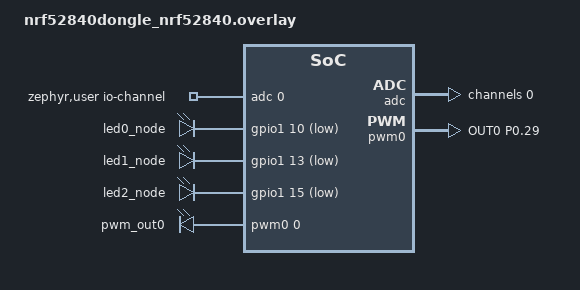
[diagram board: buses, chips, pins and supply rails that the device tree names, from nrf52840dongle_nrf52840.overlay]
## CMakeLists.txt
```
cmake_minimum_required(VERSION 3.20.0)
find_package(Zephyr REQUIRED HINTS $ENV{ZEPHYR_BASE})

project(pwm_out__analog_in__three_digital_output)

target_sources(app PRIVATE src/main.c)
```

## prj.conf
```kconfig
CONFIG_GPIO=y
CONFIG_PWM=y
CONFIG_PINCTRL=y
CONFIG_ADC=y
CONFIG_PRINTK=y
```

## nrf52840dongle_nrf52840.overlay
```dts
#include <zephyr/dt-bindings/adc/adc.h>
#include <zephyr/dt-bindings/adc/nrf-saadc.h>

/ {
    /* MERGED: keep your ADC io-channels */
    zephyr,user {
        io-channels = <&adc 0>;
    };

    /* ADDED: aliases for 3 LEDs + PWM output */
    aliases {
        led0 = &led0_node;
        led1 = &led1_node;
        led2 = &led2_node;
        pwmout = &pwm_out0;
    };

    /* ADDED: GPIO LED nodes */
    leds {
        compatible = "gpio-leds";

        led0_node: led0 {
            gpios = <&gpio1 10 GPIO_ACTIVE_LOW>; /* P1.10 */
        };

        led1_node: led1 {
            gpios = <&gpio1 13 GPIO_ACTIVE_LOW>; /* P1.13 */
        };

        led2_node: led2 {
            gpios = <&gpio1 15 GPIO_ACTIVE_LOW>; /* P1.15 */
        };
    };

    /* ADDED: a “consumer” node so code can use DT_ALIAS(pwm_out) */
    pwm_outputs {
        compatible = "pwm-leds";

        pwm_out0: pwm_out_0 {
            pwms = <&pwm0 0 1000000 PWM_POLARITY_NORMAL>;
            /* default period (1 kHz) — you override period in main.c */
        };
    };
};

/* MERGED: your ADC channel config stays exactly the same */
&adc {
    status = "okay";
    #address-cells = <1>;
    #size-cells = <0>;

    channel@0 {
        reg = <0>;
        zephyr,gain = "ADC_GAIN_1_5";
        zephyr,reference = "ADC_REF_INTERNAL";
        zephyr,acquisition-time = <ADC_ACQ_TIME_DEFAULT>;
        zephyr,resolution = <12>;
        zephyr,input-positive = <NRF_SAADC_AIN0>; /* P0.02 */

        /* For differential measurement, use input-negative. */
        /* zephyr,input-negative = <NRF_SAADC_GND>; */
    };
};

/* ADDED: enable PWM0 + route OUT0 to P0.29 */
&pwm0 {
    status = "okay";
    pinctrl-0 = <&pwm0_default>;
    pinctrl-1 = <&pwm0_sleep>;          /* ADDED */
    pinctrl-names = "default", "sleep"; /* FIXED */
};

&pinctrl {
    pwm0_default: pwm0_default {
        group1 {
            psels = <NRF_PSEL(PWM_OUT0, 0, 29)>; /* P0.29 */
        };
    };

    pwm0_sleep: pwm0_sleep {            /* ADDED */
        group1 {
            psels = <NRF_PSEL(PWM_OUT0, 0, 29)>;
            low-power-enable;           /* ADDED (recommended) */
        };
    };
};
```

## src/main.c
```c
#include <zephyr/kernel.h>
#include <zephyr/device.h>
#include <zephyr/devicetree.h>
#include <zephyr/sys/printk.h>
#include <zephyr/sys/util.h>

#include <zephyr/drivers/adc.h>
#include <zephyr/drivers/gpio.h>   /* ADDED */
#include <zephyr/drivers/pwm.h>    /* ADDED */

/* -------------------- YOUR ADC DT CHECK (kept) -------------------- */
#if !DT_NODE_EXISTS(DT_PATH(zephyr_user)) || \
    !DT_NODE_HAS_PROP(DT_PATH(zephyr_user), io_channels)
#error "No suitable devicetree overlay specified"
#endif

#define DT_SPEC_AND_COMMA(node_id, prop, idx) \
    ADC_DT_SPEC_GET_BY_IDX(node_id, idx),

static const struct adc_dt_spec adc_channels[] = {
    DT_FOREACH_PROP_ELEM(DT_PATH(zephyr_user), io_channels, DT_SPEC_AND_COMMA)
};

/* -------------------- ADDED: LED + PWM DT specs -------------------- */
#define LED0_NODE DT_ALIAS(led0)
#define LED1_NODE DT_ALIAS(led1)
#define LED2_NODE DT_ALIAS(led2)
#define PWM_OUT_NODE DT_ALIAS(pwmout)

#if !DT_NODE_HAS_STATUS(LED0_NODE, okay) || \
    !DT_NODE_HAS_STATUS(LED1_NODE, okay) || \
    !DT_NODE_HAS_STATUS(LED2_NODE, okay)
#error "GPIO LED aliases missing (led0/led1/led2)"
#endif

#if !DT_NODE_HAS_STATUS(PWM_OUT_NODE, okay)
#error "PWM alias pwm_out missing"
#endif

static const struct gpio_dt_spec led0 = GPIO_DT_SPEC_GET(LED0_NODE, gpios);
static const struct gpio_dt_spec led1 = GPIO_DT_SPEC_GET(LED1_NODE, gpios);
static const struct gpio_dt_spec led2 = GPIO_DT_SPEC_GET(LED2_NODE, gpios);

static const struct pwm_dt_spec pwm_out = PWM_DT_SPEC_GET(PWM_OUT_NODE);

/* ADDED: LED helpers */
static int init_led(const struct gpio_dt_spec *led)
{
    if (!device_is_ready(led->port)) {
        return -1;
    }
    return gpio_pin_configure_dt(led, GPIO_OUTPUT_INACTIVE);
}

static void all_off(void)
{
    gpio_pin_set_dt(&led0, 0);
    gpio_pin_set_dt(&led1, 0);
    gpio_pin_set_dt(&led2, 0);
}

int main(void)
{
    int err;

    /* -------------------- YOUR ADC SETUP (kept) -------------------- */
    int16_t sample;   /* SIGNED buffer */

    struct adc_sequence sequence = {
        .buffer = &sample,
        .buffer_size = sizeof(sample),
    };

    for (size_t i = 0; i < ARRAY_SIZE(adc_channels); i++) {
        if (!adc_is_ready_dt(&adc_channels[i])) {
            printk("ADC %s not ready\n", adc_channels[i].dev->name);
            return 0;
        }

        err = adc_channel_setup_dt(&adc_channels[i]);
        if (err) {
            printk("Channel setup failed (%d)\n", err);
            return 0;
        }
    }

    /* -------------------- ADDED: LED init -------------------- */
    if (init_led(&led0) || init_led(&led1) || init_led(&led2)) {
        printk("LED init failed\n");
        return 0;
    }

    /* -------------------- ADDED: PWM init + start (hardcoded) -------------------- */
    if (!device_is_ready(pwm_out.dev)) {
        printk("PWM device not ready\n");
        return 0;
    }

    /* Hardcoded PWM settings (edit these) */
    uint32_t period_ns = 20000; /* 50 kHz */
    uint32_t duty_pct  = 50;    /* 0..100 */
    uint32_t pulse_ns  = (uint32_t)(((uint64_t)period_ns * duty_pct) / 100ULL);

    err = pwm_set_dt(&pwm_out, pulse_ns, period_ns);
    if (err) {
        printk("pwm_set_dt failed (%d)\n", err);
        return 0;
    }

    /* -------------------- MERGED LOOP: chaser + ADC every 250 ms -------------------- */
    const struct gpio_dt_spec *leds[3] = { &led0, &led1, &led2 };
    int idx = 0;

    int64_t next_adc_ms = k_uptime_get() + 250; /* matches your k_sleep(250ms) */

    while (1) {
        /* LED chaser step */
        all_off();
        gpio_pin_set_dt(leds[idx], 1);
        idx = (idx + 1) % 3;

        /* Your ADC read/print, on the same 250 ms cadence */
        int64_t now = k_uptime_get();
        if (now >= next_adc_ms) {
            next_adc_ms = now + 250;

            for (size_t i = 0; i < ARRAY_SIZE(adc_channels); i++) {
                int32_t mv;

                adc_sequence_init_dt(&adc_channels[i], &sequence);
                err = adc_read_dt(&adc_channels[i], &sequence);
                if (err) {
                    printk("adc_read failed (%d)\n", err);
                    continue;
                }

                mv = sample;

                printk("adc=%d ", sample);

                err = adc_raw_to_millivolts_dt(&adc_channels[i], &mv);
                if (err == 0) {
                    printk("mv=%d\n", mv);
                } else {
                    printk("(mV unavailable)\n");
                }
            }
        }

        k_msleep(150); /* chaser speed */
    }
}
```
